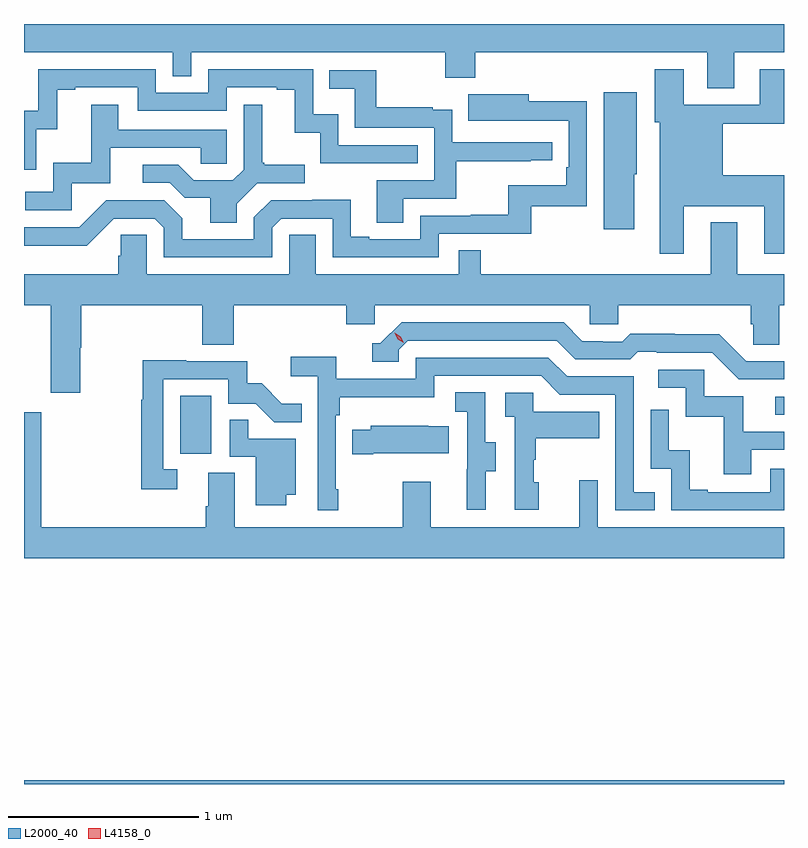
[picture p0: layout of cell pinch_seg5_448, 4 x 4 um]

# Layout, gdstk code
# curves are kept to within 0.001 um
import gdstk
lib = gdstk.Library(unit=1e-6, precision=1e-09)
def R(c, l, rs):  # rectangles x0, y0, x1, y1
    for r in rs: c.add(gdstk.rectangle(r[:2], r[2:], *l))
def P(c, l, *ps):  # polygons
    for p in ps: c.add(gdstk.Polygon(p, *l))
L2000_40 = (2000, 40)
L4158_0 = (4158, 0)

pinch_seg5_448 = lib.new_cell('pinch_seg5_448')
R(pinch_seg5_448, L2000_40, [(935.282,855.573,939.282,855.592), (936.104,857.31,936.268,857.617), (939.237,857.517,939.282,857.61)])
P(pinch_seg5_448, L2000_40, [(939.019,859.424),(939.282,859.424),(939.282,859.573),(935.282,859.573),(935.282,859.424),(936.066,859.424),(936.066,859.297),(936.162,859.297),(936.162,859.424),(937.498,859.424),(937.498,859.289),(937.658,859.289),(937.658,859.424),(938.879,859.424),(938.879,859.234),(939.019,859.234)],
  [(938.755,858.614),(939.179,858.614),(939.179,858.363),(939.282,858.363),(939.282,858.778),(938.959,858.778),(938.959,859.048),(939.282,859.048),(939.282,859.336),(939.155,859.336),(939.155,859.149),(938.755,859.149),(938.755,859.336),(938.603,859.336),(938.603,859.056),(938.627,859.056),(938.627,858.363),(938.755,858.363)],
  [(935.346,859.019),(935.456,859.019),(935.456,859.227),(935.551,859.227),(935.551,859.239),(935.88,859.239),(935.88,859.116),(936.348,859.116),(936.348,859.239),(936.611,859.239),(936.611,859.227),(936.707,859.227),(936.707,859.001),(936.84,859.001),(936.84,858.84),(937.355,858.84),(937.355,858.936),(936.936,858.936),(936.936,859.099),(936.804,859.099),(936.804,859.335),(936.252,859.335),(936.252,859.212),(935.976,859.212),(935.976,859.335),(935.358,859.335),(935.358,859.116),(935.282,859.116),(935.282,858.807),(935.346,858.807)],
  [(937.279,858.654),(937.556,858.654),(937.556,858.85),(937.949,858.85),(937.949,858.855),(938.062,858.855),(938.062,858.951),(937.536,858.951),(937.536,859.123),(937.433,859.123),(937.433,859.135),(937.135,859.135),(937.135,859.329),(936.889,859.329),(936.889,859.232),(937.024,859.232),(937.024,859.026),(937.44,859.026),(937.44,858.75),(937.139,858.75),(937.139,858.526),(937.279,858.526)],
  [(938.494,858.783),(938.506,858.783),(938.506,859.213),(938.333,859.213),(938.333,858.492),(938.494,858.492)],
  [(936.588,858.501),(936.636,858.549),(936.906,858.549),(936.906,858.345),(937.464,858.345),(937.464,858.468),(937.951,858.468),(937.951,858.615),(938.244,858.615),(938.244,859.166),(937.939,859.166),(937.939,859.204),(937.621,859.204),(937.621,859.064),(938.148,859.065),(938.148,858.82),(938.135,858.82),(938.135,858.724),(937.83,858.724),(937.83,858.569),(937.633,858.569),(937.633,858.564),(937.368,858.564),(937.368,858.441),(937.099,858.441),(937.099,858.454),(937.003,858.454),(937.003,858.647),(936.798,858.647),(936.798,858.645),(936.582,858.645),(936.492,858.555),(936.492,858.441),(936.115,858.441),(936.115,858.551),(936.021,858.645),(935.715,858.645),(935.574,858.504),(935.282,858.504),(935.282,858.405),(935.376,858.405),(935.376,858.407),(935.612,858.407),(935.754,858.549),(935.97,858.549),(936.018,858.501),(936.018,858.345),(936.588,858.345)],
  [(935.532,858.735),(935.737,858.735),(935.737,858.921),(936.211,858.921),(936.211,858.837),(936.348,858.837),(936.348,859.017),(935.779,859.017),(935.779,859.147),(935.635,859.147),(935.635,858.844),(935.436,858.844),(935.436,858.69),(935.289,858.69),(935.289,858.594),(935.532,858.594)],
  [(936.403,858.628),(936.51,858.735),(936.76,858.735),(936.76,858.832),(936.547,858.832),(936.547,858.844),(936.535,858.844),(936.535,859.147),(936.438,859.147),(936.438,858.807),(936.381,858.75),(936.175,858.75),(936.094,858.831),(935.907,858.831),(935.907,858.738),(936.048,858.738),(936.128,858.658),(936.263,858.658),(936.263,858.526),(936.403,858.526)],
  [(935.577,857.87),(935.582,857.87),(935.582,858.092),(936.221,858.092),(936.221,857.884),(936.386,857.884),(936.386,858.092),(936.977,858.092),(936.977,857.994),(937.128,857.994),(937.128,858.092),(938.259,858.092),(938.259,857.994),(938.409,857.994),(938.409,858.092),(939.107,858.092),(939.107,857.994),(939.121,857.994),(939.121,857.884),(939.258,857.884),(939.258,858.092),(939.282,858.092),(939.282,858.256),(939.037,858.256),(939.037,858.529),(938.897,858.529),(938.897,858.256),(937.685,858.256),(937.685,858.383),(937.569,858.383),(937.569,858.256),(936.817,858.256),(936.817,858.464),(936.678,858.464),(936.678,858.256),(935.928,858.256),(935.928,858.464),(935.791,858.464),(935.791,858.354),(935.777,858.354),(935.777,858.256),(935.282,858.256),(935.282,858.092),(935.422,858.092),(935.422,857.631),(935.577,857.631)],
  [(939.282,857.799),(939.084,857.799),(938.942,857.941),(938.706,857.941),(938.706,857.944),(938.473,857.944),(938.431,857.901),(938.328,857.901),(938.328,857.904),(938.221,857.904),(938.122,858.003),(937.269,858.003),(937.158,857.892),(937.115,857.892),(937.115,857.796),(937.254,857.796),(937.254,857.859),(937.302,857.907),(938.085,857.907),(938.184,857.808),(938.473,857.808),(938.512,857.847),(938.611,857.847),(938.611,857.844),(938.904,857.844),(939.045,857.703),(939.282,857.703)],
  [(936.937,857.125),(936.924,857.125),(936.924,857.513),(936.944,857.513),(936.944,857.609),(937.44,857.609),(937.44,857.721),(938.004,857.721),(938.103,857.622),(938.394,857.622),(938.394,857.013),(938.603,857.013),(938.603,857.109),(938.49,857.109),(938.49,857.718),(938.14,857.718),(938.041,857.817),(937.344,857.817),(937.344,857.706),(936.926,857.706),(936.926,857.822),(936.687,857.822),(936.687,857.72),(936.828,857.72),(936.828,857.013),(936.937,857.013)],
  [(936.088,857.229),(936.015,857.229),(936.015,857.703),(936.357,857.703),(936.357,857.574),(936.502,857.574),(936.599,857.477),(936.743,857.477),(936.743,857.575),(936.639,857.575),(936.532,857.682),(936.456,857.682),(936.456,857.799),(936.137,857.799),(936.137,857.804),(935.907,857.804),(935.907,857.596),(935.899,857.596),(935.899,857.124),(936.088,857.124)],
  [(939.109,857.331),(939.282,857.331),(939.282,857.427),(939.067,857.427),(939.067,857.613),(938.862,857.613),(938.862,857.754),(938.619,857.754),(938.619,857.658),(938.766,857.658),(938.766,857.505),(938.965,857.505),(938.965,857.202),(939.109,857.202)],
  [(937.711,857.218),(937.765,857.218),(937.765,857.373),(937.71,857.373),(937.71,857.636),(937.551,857.636),(937.551,857.533),(937.614,857.533),(937.614,857.229),(937.613,857.229),(937.613,857.016),(937.711,857.016)],
  [(937.99,857.16),(937.965,857.16),(937.965,857.279),(937.975,857.279),(937.975,857.393),(938.309,857.393),(938.309,857.533),(937.962,857.533),(937.962,857.631),(937.815,857.631),(937.815,857.507),(937.866,857.507),(937.866,857.016),(937.99,857.016)],
  [(939.282,857.232),(939.21,857.232),(939.21,857.109),(938.881,857.109),(938.881,857.122),(938.786,857.122),(938.786,857.33),(938.676,857.33),(938.676,857.542),(938.58,857.542),(938.58,857.232),(938.688,857.232),(938.688,857.013),(939.282,857.013)],
  [(939.282,856.924),(938.301,856.924),(938.301,857.173),(938.204,857.173),(938.204,856.924),(937.423,856.924),(937.423,857.164),(937.276,857.164),(937.276,856.924),(936.391,856.924),(936.391,857.21),(936.251,857.21),(936.251,857.036),(936.239,857.036),(936.239,856.924),(935.374,856.924),(935.374,857.53),(935.282,857.53),(935.282,856.76),(939.282,856.76)],
  [(936.661,857.096),(936.712,857.096),(936.712,857.391),(936.461,857.391),(936.461,857.489),(936.366,857.489),(936.366,857.295),(936.503,857.295),(936.503,857.04),(936.661,857.04)],
  [(937.12,857.315),(937.517,857.315),(937.517,857.455),(937.409,857.455),(937.409,857.458),(937.107,857.458),(937.107,857.437),(937.009,857.437),(937.009,857.308),(937.12,857.308)])
P(pinch_seg5_448, L4158_0, [(937.28,857.895),(937.249,857.915),(937.234,857.948),(937.234,857.948),(937.234,857.948),(937.264,857.928),(937.28,857.895),(937.28,857.895)])

lib.write_gds('pinch_seg5_448.gds')
